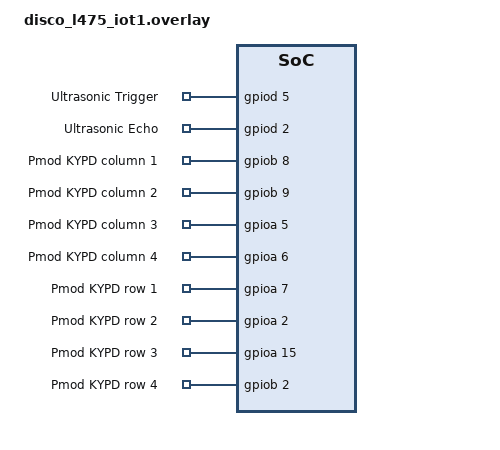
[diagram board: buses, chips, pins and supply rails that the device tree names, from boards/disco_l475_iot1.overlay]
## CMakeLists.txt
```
cmake_minimum_required(VERSION 3.20.0)
find_package(Zephyr REQUIRED HINTS $ENV{ZEPHYR_BASE})
project(door_node)

# Local source files
file(GLOB local_sources
    ${CMAKE_CURRENT_SOURCE_DIR}/src/*.c
    ${CMAKE_CURRENT_SOURCE_DIR}/lib/*.c
)

# Global source files
file(GLOB global_sources
    ${CMAKE_CURRENT_SOURCE_DIR}/../lib/txBluetooth.c
)
# Combine all sources
target_sources(app PRIVATE ${local_sources} ${global_sources})

# Include both local and global headers
target_include_directories(app PRIVATE
    ${CMAKE_CURRENT_SOURCE_DIR}/include
    ${CMAKE_CURRENT_SOURCE_DIR}/../include
)
```

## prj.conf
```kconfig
CONFIG_GPIO=y
CONFIG_PRINTK=y

CONFIG_BT=y
CONFIG_BT_DEVICE_NAME="door_node"
CONFIG_BT_CENTRAL=y
CONFIG_BT_PERIPHERAL=y
CONFIG_BT_SMP=y
CONFIG_BT_PRIVACY=y
CONFIG_BT_BONDABLE=y
CONFIG_BT_DEVICE_NAME_DYNAMIC=n
CONFIG_BT_DEVICE_APPEARANCE=0
CONFIG_BT_GATT_DYNAMIC_DB=y
CONFIG_BT_GATT_CLIENT=y
CONFIG_HEAP_MEM_POOL_SIZE=4096

CONFIG_SENSOR=y
```

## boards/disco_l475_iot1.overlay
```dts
/ {
    ultrasonic_sensor {
        compatible = "gpio-keys";

        ultrasonic_trig_pin: ultrasonic_trigger {
            gpios = <&gpiod 5 GPIO_ACTIVE_HIGH>; 
            label = "Ultrasonic Trigger";
        };

        ultrasonic_echo_pin: ultrasonic_echo {
            gpios = <&gpiod 2  GPIO_ACTIVE_HIGH>; 
            label = "Ultrasonic Echo";
        };
    };

    pmod_kypd {
        compatible = "gpio-keys";

        pmod_kypd_col1_pin: pmod_kypd_col1 {
            gpios = <&gpiob 8 GPIO_ACTIVE_HIGH>; 
            label = "Pmod KYPD column 1";
        };
        pmod_kypd_col2_pin: pmod_kypd_col2 {
            gpios = <&gpiob 9 GPIO_ACTIVE_HIGH>; 
            label = "Pmod KYPD column 2";
        };
        pmod_kypd_col3_pin: pmod_kypd_col3 {
            gpios = <&gpioa 5 GPIO_ACTIVE_HIGH>; 
            label = "Pmod KYPD column 3";
        };
        pmod_kypd_col4_pin: pmod_kypd_col4 {
            gpios = <&gpioa 6 GPIO_ACTIVE_HIGH>; 
            label = "Pmod KYPD column 4";
        };
        pmod_kypd_row1_pin: pmod_kypd_row1 {
            gpios = <&gpioa 7 GPIO_ACTIVE_HIGH>; 
            label = "Pmod KYPD row 1";
        };
        pmod_kypd_row2_pin: pmod_kypd_row2 {
            gpios = <&gpioa 2 GPIO_ACTIVE_HIGH>; 
            label = "Pmod KYPD row 2";
        };
        pmod_kypd_row3_pin: pmod_kypd_row3 {
            gpios = <&gpioa 15 GPIO_ACTIVE_HIGH>; 
            label = "Pmod KYPD row 3";
        };
        pmod_kypd_row4_pin: pmod_kypd_row4 {
            gpios = <&gpiob 2 GPIO_ACTIVE_HIGH>; 
            label = "Pmod KYPD row 4";
        };
    };



    
    aliases {
        ultrasonictrig = &ultrasonic_trig_pin;
        ultrasonicecho = &ultrasonic_echo_pin;
        pmodkypdcol1 = &pmod_kypd_col1_pin;
        pmodkypdcol2 = &pmod_kypd_col2_pin;
        pmodkypdcol3 = &pmod_kypd_col3_pin;
        pmodkypdcol4 = &pmod_kypd_col4_pin;
        pmodkypdrow1 = &pmod_kypd_row1_pin;
        pmodkypdrow2 = &pmod_kypd_row2_pin;
        pmodkypdrow3 = &pmod_kypd_row3_pin;
        pmodkypdrow4 = &pmod_kypd_row4_pin;
    };  
};
```

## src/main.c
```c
#include <zephyr/kernel.h>
#include <zephyr/device.h>
#include "pmodkypd.h"
#include "doorBluetooth.h"
#include "ultrasonicSensor.h"
#include "lis3mdl.h"

/* scheduling parameters */
#define STACKSIZE 				4096
#define PRIORITY 				7
#define PRIORITY_SENSOR			3

K_THREAD_DEFINE(PmodKypdListener_id, STACKSIZE, PmodKypdListener, NULL, NULL, NULL, PRIORITY_SENSOR, 0, 0);
K_THREAD_DEFINE(UltrasonicSensorRead_id, STACKSIZE, UltrasonicSensorRead, NULL, NULL, NULL, PRIORITY_SENSOR, 0, 0);
K_THREAD_DEFINE(MagnetometerSensorRead_id, STACKSIZE, MagnetometerSensorRead, NULL, NULL, NULL, PRIORITY, 0, 0);
K_THREAD_DEFINE(bluetooth_sender0_id, STACKSIZE, bluetooth_sender0, NULL, NULL, NULL, PRIORITY_SENSOR, 0, 0);
```

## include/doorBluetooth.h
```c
#ifndef DOORBLUETOOTH_H
#define DOORBLUETOOTH_H

void bluetooth_sender0(void);

#endif // DOORBLUETOOTH_H
```

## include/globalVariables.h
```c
#ifndef GLOBALVARIABLES_H
#define GLOBALVARIABLES_H

#include <stdint.h>

extern struct k_fifo ULTRASONIC_fifo;

struct ultrasonic_data_t {
	void *fifo_reserved; /* 1st word reserved for use by fifo */
	int distance_cm;
};

#endif // GLOBALVARIABLES_H
```

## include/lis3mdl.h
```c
#ifndef LIS3MDL_H
#define LIS3MDL_H

void MagnetometerSensorRead( void );

#endif //LIS3MDL_H
```

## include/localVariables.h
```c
#ifndef LOCALVARIABLES_H
#define LOCALVARIABLES_H

#include <stdint.h>
#include <stdbool.h>
extern struct k_fifo PMODKYPD_fifo;
extern struct k_fifo ULTRASONIC_fifo;
extern struct k_fifo MAGNETOMETER_fifo;
extern struct k_fifo ULTRASONIC_SAMPLE_fifo;
extern struct k_fifo MAGNETOMETER_SAMPLE_fifo;

struct ultrasonic_data_t {
	void *fifo_reserved; /* 1st word reserved for use by fifo */
	bool proximity;
};

struct pmodkypd_data_t {
	void *fifo_reserved; /* 1st word reserved for use by fifo */
	char pin_code[6]; // 5 digits + null terminator

};

struct magnetometer_data_t {
	void *fifo_reserved; /* 1st word reserved for use by fifo */
	bool door_opened;
};


struct ultrasonic_sample_data_t {
	void *fifo_reserved; /* 1st word reserved for use by fifo */
	int distance_cm;
};

struct magnetometer_sample_data_t {
	void *fifo_reserved; /* 1st word reserved for use by fifo */
	int avg_magnetometer_value;
};
#endif // LOCALVARIABLES_H
```

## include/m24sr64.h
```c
#ifndef M24SR64_H
#define M24SR64_H


void NFCRead(void);
void NFCReaderLoop(void);

#endif // M24SR64_H
```

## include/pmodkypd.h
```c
#ifndef PMODKYPD_H
#define PMODKYPD_H

extern struct gpio_dt_spec pmodkypd_col1;
extern struct gpio_dt_spec pmodkypd_col2;
extern struct gpio_dt_spec pmodkypd_col3;
extern struct gpio_dt_spec pmodkypd_col4;
extern struct gpio_dt_spec pmodkypd_row1;
extern struct gpio_dt_spec pmodkypd_row2;
extern struct gpio_dt_spec pmodkypd_row3;
extern struct gpio_dt_spec pmodkypd_row4;
extern struct gpio_dt_spec led0;
extern struct gpio_dt_spec led1;


void PmodKypdListener(void);

#endif // PMODKYPD_H
```

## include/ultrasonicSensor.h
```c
#ifndef ULTRASONICSENSOR_H
#define ULTRASONICSENSOR_H

// Global declarations of GPIO specifications
extern struct gpio_dt_spec ultrasonic_trig;   // Trigger pin
extern struct gpio_dt_spec ultrasonic_echo;  // Echo pin

void UltrasonicSensorRead(void);
#endif // ULTRASONICSENSOR_H
```
